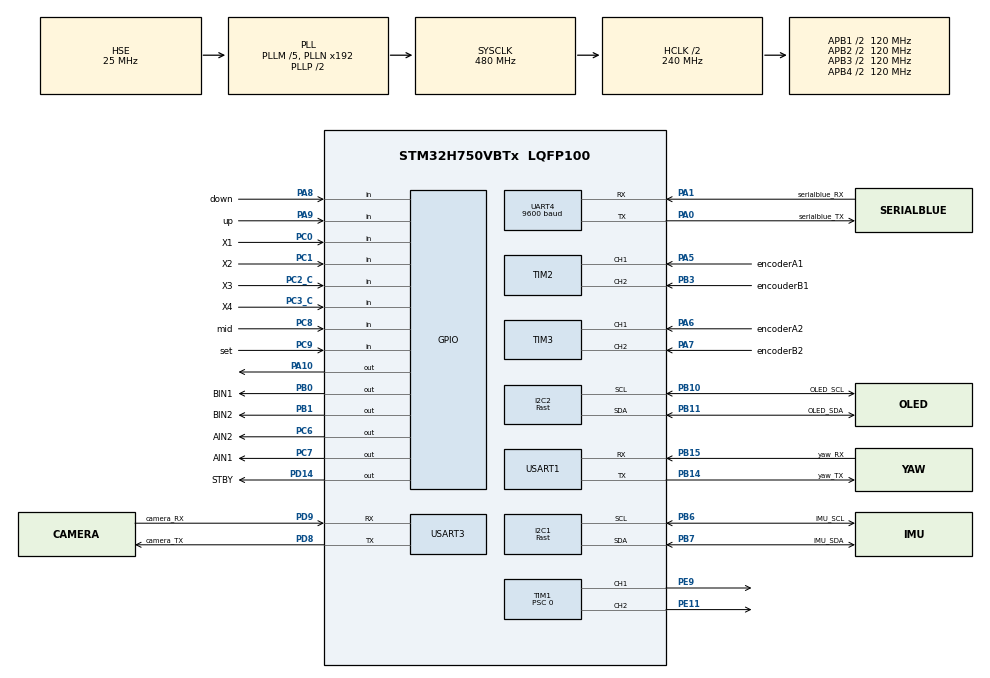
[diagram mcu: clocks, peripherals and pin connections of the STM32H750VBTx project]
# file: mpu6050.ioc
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CORTEX_M7.default_mode_Activation=1
I2C1.I2C_Speed_Mode=I2C_Fast
I2C1.Timing=0x00B03FDB
I2C2.I2C_Speed_Mode=I2C_Fast
I2C2.Timing=0x00B03FDB
Mcu.Family=STM32H7
Mcu.Name=STM32H750VBTx
Mcu.Package=LQFP100
NVIC.PriorityGroup=NVIC_PRIORITYGROUP_4
NVIC.TIM6_DAC_IRQn=true\:15\:0\:true\:false\:true\:true\:true\:true
PA0.GPIO_Label=serialblue_TX
PA0.Mode=Asynchronous
PA0.Signal=UART4_TX
PA1.GPIO_Label=serialblue_RX
PA1.Mode=Asynchronous
PA1.Signal=UART4_RX
PA10.GPIO_PuPd=GPIO_PULLDOWN
PA10.Signal=GPIO_Output
PA13\ (JTMS/SWDIO).Mode=Serial_Wire
PA13\ (JTMS/SWDIO).Signal=DEBUG_JTMS-SWDIO
PA14\ (JTCK/SWCLK).Mode=Serial_Wire
PA14\ (JTCK/SWCLK).Signal=DEBUG_JTCK-SWCLK
PA5.GPIO_Label=encoderA1
PA5.Signal=S_TIM2_CH1_ETR
PA6.GPIO_Label=encoderA2
PA6.Signal=S_TIM3_CH1
PA7.GPIO_Label=encoderB2
PA7.Signal=S_TIM3_CH2
PA8.GPIO_Label=down
PA8.GPIO_PuPd=GPIO_PULLUP
PA8.Signal=GPIO_Input
PA9.GPIO_Label=up
PA9.GPIO_PuPd=GPIO_PULLUP
PA9.Signal=GPIO_Input
PB0.GPIO_Label=BIN1
PB0.Signal=GPIO_Output
PB1.GPIO_Label=BIN2
PB1.Signal=GPIO_Output
PB10.GPIO_Label=OLED_SCL
PB10.Mode=I2C
PB10.Signal=I2C2_SCL
PB11.GPIO_Label=OLED_SDA
PB11.Mode=I2C
PB11.Signal=I2C2_SDA
PB14.GPIO_Label=yaw_TX
PB14.Mode=Asynchronous
PB14.Signal=USART1_TX
PB15.GPIO_Label=yaw_RX
PB15.Mode=Asynchronous
PB15.Signal=USART1_RX
PB3\ (JTDO/TRACESWO).GPIO_Label=encouderB1
PB3\ (JTDO/TRACESWO).Signal=S_TIM2_CH2
PB6.GPIO_Label=IMU_SCL
PB6.Mode=I2C
PB6.Signal=I2C1_SCL
PB7.GPIO_Label=IMU_SDA
PB7.Mode=I2C
PB7.Signal=I2C1_SDA
PC0.GPIO_Label=X1
PC0.GPIO_PuPd=GPIO_PULLUP
PC0.Signal=GPIO_Input
PC1.GPIO_Label=X2
PC1.GPIO_PuPd=GPIO_PULLUP
PC1.Signal=GPIO_Input
PC2_C.GPIO_Label=X3
PC2_C.GPIO_PuPd=GPIO_PULLUP
PC2_C.Signal=GPIO_Input
PC3_C.GPIO_Label=X4
PC3_C.GPIO_PuPd=GPIO_PULLUP
PC3_C.Signal=GPIO_Input
PC6.GPIO_Label=AIN2
PC6.Signal=GPIO_Output
PC7.GPIO_Label=AIN1
PC7.Signal=GPIO_Output
PC8.GPIO_Label=mid
PC8.GPIO_PuPd=GPIO_PULLUP
PC8.Signal=GPIO_Input
PC9.GPIO_Label=set
PC9.GPIO_PuPd=GPIO_PULLUP
PC9.Signal=GPIO_Input
PD14.GPIO_Label=STBY
PD14.Signal=GPIO_Output
PD8.GPIO_Label=camera_TX
PD8.Mode=Asynchronous
PD8.Signal=USART3_TX
PD9.GPIO_Label=camera_RX
PD9.Mode=Asynchronous
PD9.Signal=USART3_RX
PE11.Signal=S_TIM1_CH2
PE9.Signal=S_TIM1_CH1
PH0-OSC_IN\ (PH0).Mode=HSE-External-Oscillator
PH0-OSC_IN\ (PH0).Signal=RCC_OSC_IN
PH1-OSC_OUT\ (PH1).Mode=HSE-External-Oscillator
PH1-OSC_OUT\ (PH1).Signal=RCC_OSC_OUT
ProjectManager.HeapSize=0x200
ProjectManager.StackSize=0x400
ProjectManager.TargetToolchain=CMake
RCC.ADCFreq_Value=1612500000
RCC.APB1Freq_Value=120000000
RCC.APB2Freq_Value=120000000
RCC.APB3Freq_Value=120000000
RCC.APB4Freq_Value=120000000
RCC.CortexFreq_Value=480000000
RCC.D1PPRE=RCC_APB3_DIV2
RCC.D2PPRE1=RCC_APB1_DIV2
RCC.D2PPRE2=RCC_APB2_DIV2
RCC.D3PPRE=RCC_APB4_DIV2
RCC.DIVM1=5
RCC.DIVM2=1
RCC.DIVN1=192
RCC.HCLKFreq_Value=240000000
RCC.HPRE=RCC_HCLK_DIV2
RCC.HSE_VALUE=25000000
RCC.PLLSourceVirtual=RCC_PLLSOURCE_HSE
RCC.SYSCLKFreq_VALUE=480000000
RCC.SYSCLKSource=RCC_SYSCLKSOURCE_PLLCLK
RCC.USBFreq_Value=480000000
SH.S_TIM1_CH1.0=TIM1_CH1,PWM Generation1 CH1
SH.S_TIM1_CH2.0=TIM1_CH2,PWM Generation2 CH2
SH.S_TIM2_CH1_ETR.0=TIM2_CH1,Encoder_Interface
SH.S_TIM2_CH2.0=TIM2_CH2,Encoder_Interface
SH.S_TIM3_CH1.0=TIM3_CH1,Encoder_Interface
SH.S_TIM3_CH2.0=TIM3_CH2,Encoder_Interface
TIM1.AutoReloadPreload=TIM_AUTORELOAD_PRELOAD_ENABLE
TIM1.AutomaticOutput=TIM_AUTOMATICOUTPUT_ENABLE
TIM1.Channel-PWM\ Generation1\ CH1=TIM_CHANNEL_1
TIM1.Channel-PWM\ Generation2\ CH2=TIM_CHANNEL_2
TIM1.OCFastMode_PWM-PWM\ Generation1\ CH1=TIM_OCFAST_ENABLE
TIM1.OCFastMode_PWM-PWM\ Generation2\ CH2=TIM_OCFAST_ENABLE
TIM1.Period=23999
TIM1.Prescaler=0
TIM2.EncoderMode=TIM_ENCODERMODE_TI12
TIM2.IC1Filter=10
TIM2.IC2Filter=10
TIM3.EncoderMode=TIM_ENCODERMODE_TI12
TIM3.IC1Filter=10
TIM3.IC2Filter=10
TIM6.Period=199
TIM6.Prescaler=23999
UART4.BaudRate=9600
USART1.FIFOMode=FIFOMODE_ENABLE
USART1.VirtualMode-Asynchronous=VM_ASYNC
USART3.VirtualMode-Asynchronous=VM_ASYNC
VP_MEMORYMAP_VS_MEMORYMAP.Mode=CurAppReg
VP_TIM6_VS_ClockSourceINT.Mode=Enable_Timer
board=custom

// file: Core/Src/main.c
/* USER CODE BEGIN Header */
/**
  ******************************************************************************
  * @file           : main.c
  * @brief          : Main program body
  ******************************************************************************
  * @attention
  *
  * Copyright (c) 2026 STMicroelectronics.
  * All rights reserved.
  *
  * This software is licensed under terms that can be found in the LICENSE file
  * in the root directory of this software component.
  * If no LICENSE file comes with this software, it is provided AS-IS.
  *
  ******************************************************************************
  */
/* USER CODE END Header */
#include "main.h"
#include "i2c.h"
#include "tim.h"
#include "usart.h"
#include "gpio.h"

/* USER CODE BEGIN Includes */
#include <stdio.h>
#include <math.h>
#include "ICM42688.h"
#include "serialcmd.h"
#include "camera.h"
#include "tracking.h"
#include "chassis.h"
#include "encoder.h"
#include "balance.h"
#include "oled.h"
#include "speed_ctrl.h"

/* USER CODE END Includes */

/* USER CODE BEGIN PV */
enum {
    STATE_IDLE = 0,
    STATE_RUNNING,
    STATE_BRAKING,
    STATE_DONE,
} sys_state = STATE_IDLE;

static uint32_t state_start_ms;
static uint32_t last_key_ms;
static uint32_t last_lf_ms;
static uint32_t last_dbg_ms;
static uint8_t  uart4_rx_byte;
static uint8_t  usart3_rx_byte;
volatile uint8_t bal_20ms_flag;

/* USER CODE END PV */

void SystemClock_Config(void);
static void MPU_Config(void);

/* USER CODE BEGIN 0 */
int _write(int fd,char *ptr,int len)
{
  HAL_UART_Transmit(&huart4,(uint8_t *)ptr,len,HAL_MAX_DELAY);
  return len;
}

void calculate(float *gx_offset, float *gy_offset, float *gz_offset)
{
 float sum[3] = {0};
  ICM42688_Data rawdata;

  for (int i = 0; i < 1000; i++)
  {
      ICM42688_ReadAct(&rawdata);
      if (i < 50) continue;
      sum[0] += rawdata.gyro_x;
      sum[1] += rawdata.gyro_y;
      sum[2] += rawdata.gyro_z;
      HAL_Delay(5);
  }
  *gx_offset = sum[0] / 950.0f;
  *gy_offset = sum[1] / 950.0f;
  *gz_offset = sum[2] / 950.0f;
  printf("Gyro offset: %.4f, %.4f, %.4f dps\r\n",
         *gx_offset, *gy_offset, *gz_offset);
}

/* 题4 B点距离 A→B (mm)，根据实际赛道标定 */
#define B_POINT_DISTANCE_MM  1500.0f

/* 过线检测: 4路传感器全黑 */
static inline uint8_t line_crossed(void)
{
    return (TRACK_X1_READ() == 0 && TRACK_X2_READ() == 0 &&
            TRACK_X3_READ() == 0 && TRACK_X4_READ() == 0);
}
/* USER CODE END 0 */

int main(void)
{

  /* MPU Configuration--------------------------------------------------------*/
MPU_Config();

  /* MCU Configuration--------------------------------------------------------*/

  /* Reset of all peripherals, Initializes the Flash interface and the Systick. */
  HAL_Init();

  /* Configure the system clock */
  SystemClock_Config();

  /* Initialize all configured peripherals */
  MX_GPIO_Init();
  MX_I2C1_Init();
  MX_UART4_Init();
  MX_USART1_UART_Init();
  MX_USART3_UART_Init();
  MX_I2C2_Init();
  MX_TIM1_Init();
  MX_TIM3_Init();
  MX_TIM2_Init();
  MX_TIM6_Init();
  HAL_TIM_Base_Start_IT(&htim6);
  /* USER CODE BEGIN 2 */
  TRACK_IR4_Init();
  Chassis_Init();
  Enc_Init();
  Spd_Init();
  Balance_Init(&huart1);
  OLED_Init();
  OLED_Clear();
  OLED_Printf(0, 0, "Task: %d  [^v]", g_task_mode);
  OLED_ShowString(0, 4, "[SEL] Start");
  printf("OK — Task mode: %d\r\n", g_task_mode);
  SerialCmd_Init();
  HAL_UART_Receive_IT(&huart4, &uart4_rx_byte, 1);
  Camera_Init();
  HAL_UART_Receive_IT(&huart3, &usart3_rx_byte, 1);

  /* IMU 初始化 + 陀螺仪零偏校准 */
  if (ICM42688_Init() == 0) {
      float gx_off, gy_off, gz_off;
      printf("ICM42688 OK\r\n");
      calculate(&gx_off, &gy_off, &gz_off);
  } else {
      printf("ICM42688 FAIL\r\n");
  }

  last_key_ms = HAL_GetTick();
  last_lf_ms  = HAL_GetTick();
  last_dbg_ms = HAL_GetTick();
  /* USER CODE END 2 */

  /* Infinite loop */
  /* USER CODE BEGIN WHILE */
  while (1)
  {
      uint32_t now = HAL_GetTick();

      // 串口指令处理 (每次循环)
      SerialCmd_Update(NULL, NULL);

      // 四键扫描 (20ms + 边沿检测 + 非阻塞消抖)
      if (now - last_key_ms >= 20) {
          static uint8_t  k_prev[4]  = {0};
          static uint8_t  k_edge[4]  = {0};
          static uint32_t k_lockout = 0;

          uint8_t k_raw[4];
          k_raw[0] = (HAL_GPIO_ReadPin(up_GPIO_Port,   up_Pin)   == GPIO_PIN_RESET);
          k_raw[1] = (HAL_GPIO_ReadPin(down_GPIO_Port, down_Pin) == GPIO_PIN_RESET);
          k_raw[2] = (HAL_GPIO_ReadPin(mid_GPIO_Port,  mid_Pin)  == GPIO_PIN_RESET);
          k_raw[3] = (HAL_GPIO_ReadPin(set_GPIO_Port,  set_Pin)  == GPIO_PIN_RESET);
          last_key_ms = now;

          //边沿检测
          for (int i = 0; i < 4; i++) {
              if (k_raw[i] && !k_prev[i]) k_edge[i] = 1;
              k_prev[i] = k_raw[i];
          }

          // (防止连发)
          if (now >= k_lockout) {
              if (sys_state == STATE_IDLE) {
                  if (k_edge[0] && g_task_mode < 6) {  // UP
                      g_task_mode++;
                      OLED_Printf(0, 0, "Task: %d  [^v]", g_task_mode);
                      printf("Task mode: %d\r\n", g_task_mode);
                      k_lockout = now + 300;
                  }
                  if (k_edge[1] && g_task_mode > 2) {  // DOWN
                      g_task_mode--;
                      OLED_Printf(0, 0, "Task: %d  [^v]", g_task_mode);
                      printf("Task mode: %d\r\n", g_task_mode);
                      k_lockout = now + 300;
                  }
                  if (k_edge[2]) {  // SEL
                      g_key_pressed = 1;
                      k_lockout = now + 300;
                  }
              }
              if (k_edge[3] && (sys_state == STATE_RUNNING || sys_state == STATE_BRAKING)) {
                  // STOP 紧急停车
                  sys_state = STATE_DONE;
                  g_lap_time_ms = now - state_start_ms;
                  Chassis_Stop();
                  Balance_Enable(0);
                  printf("→ STOP (manual)\r\n");
                  OLED_Printf(0, 6, "STOPPED");
                  k_lockout = now + 500;
              }
          }

          for (int i = 0; i < 4; i++) k_edge[i] = 0;
      }

      uint8_t need_balance = (g_task_mode >= 3);  // 题3-6 需要控球
      uint8_t need_racing  = (g_task_mode != 3);  // 题2,4,5,6 需要循迹

      /* ---- 摄像头 + 平衡控制 (TIM6 20ms) ---- */
      if (need_balance && bal_20ms_flag) {
          bal_20ms_flag = 0;

          static int16_t ball_pos = 0;
          static int16_t ball_prev = 0;
          static float   ball_vel = 0.0f;
          static uint32_t last_cam_ms = 0;
          static uint8_t  detected = 0;

          CameraData cam = Camera_GetData();
          if (cam.fresh) {
              detected = cam.detected;
              if (cam.detected) {
                  ball_pos = cam.dx;
                  if (last_cam_ms > 0) {
                      float dt_cam = (now - last_cam_ms) * 0.001f;
                      if (dt_cam > 0.0f && dt_cam < 0.5f) {
                          ball_vel = (float)(ball_pos - ball_prev) * 0.1f / dt_cam;
                      }
                  }
                  ball_prev = ball_pos;
                  last_cam_ms = now;
              }
          }

          if (detected) {
              Balance_SetBallVel(ball_vel);
              if (g_task_mode == 3) {
                  Balance_RunTrajectory(ball_pos, 0.02f);
              } else {
                  Balance_SetTarget(g_ball_target);
                  Balance_Update(ball_pos, 0.02f);
              }
          }
      }

      // 循迹控制 (10ms)
      if (need_racing && (sys_state == STATE_RUNNING || sys_state == STATE_BRAKING) &&
          now - last_lf_ms >= 10) {

          if (g_task_mode == 4) {
              float rL, rR;
              Chassis_LineRatio(&rL, &rR);
              Spd_SetRatio(rL, rR);
              Spd_Update();

              if (Spd_Arrived()) {
                  sys_state = STATE_DONE;
                  g_lap_time_ms = now - state_start_ms;
                  float final_dist = Enc_Dist();
                  OLED_Clear();
                  OLED_Printf(0, 0, "Task 4 DONE!");
                  OLED_Printf(0, 2, "T:%.1fs D:%.0fmm",
                             (double)g_lap_time_ms * 0.001, (double)final_dist);
                  printf("→ DONE! Time:%lums Dist:%.1fmm\r\n",
                         (unsigned long)g_lap_time_ms, (double)final_dist);
              }
          } else {
              Chassis_LineFollow();
              if (sys_state == STATE_BRAKING) {
                  if (Chassis_BrakeUpdate()) {
                      sys_state = STATE_DONE;
                      Balance_Enable(0);
                      uint32_t elapsed = now - state_start_ms;
                      g_lap_time_ms = elapsed;
                      OLED_Clear();
                      OLED_Printf(0, 0, "Task %d DONE!", g_task_mode);
                      OLED_Printf(0, 2, "Time: %.1fs", (double)elapsed * 0.001);
                      printf("→ DONE! Time: %lu ms\r\n", (unsigned long)elapsed);
                  }
              }
          }
          last_lf_ms = now;
      }

      //状态机跳转
      switch (sys_state) {

      case STATE_IDLE:
          Chassis_Stop();
          if (g_key_pressed) {
              g_key_pressed = 0;
              sys_state = STATE_RUNNING;
              state_start_ms = now;
              g_lap_time_ms = 0;

              if (need_balance) {
                  Balance_Enable(1);
                  Balance_SetTarget(g_ball_target);
              }
              if (g_task_mode == 4) {
                  Spd_Reset();
                  Spd_SetDuty(0.39f);
                  Spd_AddDist(50.0f);
                  Spd_SetStop(B_POINT_DISTANCE_MM);
              }
              OLED_Clear();
              OLED_Printf(0, 0, "Task %d RUNNING", g_task_mode);
              printf("→ RUN (mode %d)\r\n", g_task_mode);
          }
          break;

      case STATE_RUNNING:
          {
              uint32_t elapsed = now - state_start_ms;

              // 过线检测
              uint8_t crossed = (elapsed > 3000) ? line_crossed() : 0;

              uint8_t stop_flag = 0;

              //右两路(X3+X4)同时见黑
              if (g_task_mode == 2 && elapsed > 7000 &&
                  TRACK_X3_READ() == 0 && TRACK_X4_READ() == 0) {
                  Chassis_BrakeHard();
                  HAL_Delay(200);   // 保持硬刹
                  Chassis_Stop();
                  sys_state = STATE_DONE;
                  Balance_Enable(0);
                  g_lap_time_ms = elapsed;
                  OLED_Clear();
                  OLED_Printf(0, 0, "Task 2 DONE!");
                  OLED_Printf(0, 2, "Time: %.1fs", (double)elapsed * 0.001);
                  printf("→ DONE! Time: %lu ms\r\n", (unsigned long)elapsed);
                  break;
              } else if (g_task_mode == 3) {
                  /* 题3: 轨迹完成后保持住 */
                  // 轨迹完成由 Balance_RunTrajectory 内部处理
              } else if ((g_task_mode == 5 || g_task_mode == 6) && crossed) {
                  /* 题5/6: 完整一圈后过A线停止 */
                  stop_flag = 1;
              }

              if (stop_flag) {
                  sys_state = STATE_BRAKING;
                  Chassis_SoftBrake();
                  OLED_Printf(0, 6, "Braking...");
                  printf("→ BRAKING\r\n");
              }
          }
          break;

      case STATE_BRAKING:
          /* 刹车由循迹控制区的 Chassis_BrakeUpdate 驱动，完成后自动切到 DONE */
          break;

      case STATE_DONE:
          /* 停车保持 */
          Chassis_Stop();
          /* 题3/4/6 保持球在目标位置 */
          break;
      }

      //调试打印 + OLED 刷新 (200ms)
      if (now - last_dbg_ms >= 200) {
          last_dbg_ms = now;
          CameraData cam = Camera_PeekData();
          uint32_t disp_t;
          if (sys_state == STATE_RUNNING)
              disp_t = now - state_start_ms;
          else if (sys_state == STATE_DONE)
              disp_t = g_lap_time_ms;
          else
              disp_t = 0;
          // OLED 显示
          OLED_Printf(0, 2, "Mode:%d", g_task_mode);
          const char *state_str[] = {"IDLE","RUN ","BRAK","DONE"};
          OLED_Printf(48, 2, "%s", state_str[sys_state]);
          OLED_Printf(0, 4, "T:%.1fs", (double)disp_t * 0.001);
          if (g_task_mode == 4 && sys_state == STATE_RUNNING) {
              OLED_Printf(0, 6, "R:%.0fmm", Spd_Remain());
          } else {
              OLED_Printf(0, 6, "%s X:%d", cam.detected ? "Y" : "N", cam.dx);
          }
      }
    /* USER CODE END WHILE */

  }
}

void SystemClock_Config(void)
{
  RCC_OscInitTypeDef RCC_OscInitStruct = {0};
  RCC_ClkInitTypeDef RCC_ClkInitStruct = {0};

  /** Supply configuration update enable
  */
  HAL_PWREx_ConfigSupply(PWR_LDO_SUPPLY);

  /** Configure the main internal regulator output voltage
  */
  __HAL_PWR_VOLTAGESCALING_CONFIG(PWR_REGULATOR_VOLTAGE_SCALE0);

  while(!__HAL_PWR_GET_FLAG(PWR_FLAG_VOSRDY)) {}

  /** Initializes the RCC Oscillators according to the specified parameters
  * in the RCC_OscInitTypeDef structure.
  */
  RCC_OscInitStruct.OscillatorType = RCC_OSCILLATORTYPE_HSE;
  RCC_OscInitStruct.HSEState = RCC_HSE_ON;
  RCC_OscInitStruct.PLL.PLLState = RCC_PLL_ON;
  RCC_OscInitStruct.PLL.PLLSource = RCC_PLLSOURCE_HSE;
  RCC_OscInitStruct.PLL.PLLM = 5;
  RCC_OscInitStruct.PLL.PLLN = 192;
  RCC_OscInitStruct.PLL.PLLP = 2;
  RCC_OscInitStruct.PLL.PLLQ = 2;
  RCC_OscInitStruct.PLL.PLLR = 2;
  RCC_OscInitStruct.PLL.PLLRGE = RCC_PLL1VCIRANGE_2;
  RCC_OscInitStruct.PLL.PLLVCOSEL = RCC_PLL1VCOWIDE;
  RCC_OscInitStruct.PLL.PLLFRACN = 0;
  if (HAL_RCC_OscConfig(&RCC_OscInitStruct) != HAL_OK)
  {
    Error_Handler();
  }

  /** Initializes the CPU, AHB and APB buses clocks
  */
  RCC_ClkInitStruct.ClockType = RCC_CLOCKTYPE_HCLK|RCC_CLOCKTYPE_SYSCLK
                              |RCC_CLOCKTYPE_PCLK1|RCC_CLOCKTYPE_PCLK2
                              |RCC_CLOCKTYPE_D3PCLK1|RCC_CLOCKTYPE_D1PCLK1;
  RCC_ClkInitStruct.SYSCLKSource = RCC_SYSCLKSOURCE_PLLCLK;
  RCC_ClkInitStruct.SYSCLKDivider = RCC_SYSCLK_DIV1;
  RCC_ClkInitStruct.AHBCLKDivider = RCC_HCLK_DIV2;
  RCC_ClkInitStruct.APB3CLKDivider = RCC_APB3_DIV2;
  RCC_ClkInitStruct.APB1CLKDivider = RCC_APB1_DIV2;
  RCC_ClkInitStruct.APB2CLKDivider = RCC_APB2_DIV2;
  RCC_ClkInitStruct.APB4CLKDivider = RCC_APB4_DIV2;

  if (HAL_RCC_ClockConfig(&RCC_ClkInitStruct, FLASH_LATENCY_4) != HAL_OK)
  {
    Error_Handler();
  }
}

/* USER CODE BEGIN 4 */

void HAL_UART_RxCpltCallback(UART_HandleTypeDef *huart)
{
    if (huart == &huart4) {
        SerialCmd_RxByte(uart4_rx_byte);
        HAL_UART_Receive_IT(&huart4, &uart4_rx_byte, 1);
    } else if (huart == &huart3) {
        Camera_RxByte(usart3_rx_byte);
        HAL_UART_Receive_IT(&huart3, &usart3_rx_byte, 1);
    }
}

void HAL_UART_ErrorCallback(UART_HandleTypeDef *huart)
{
    if (huart == &huart3) {
        uint32_t err = HAL_UART_GetError(huart);
        if (err & (HAL_UART_ERROR_ORE | HAL_UART_ERROR_NE | HAL_UART_ERROR_FE)) {
            __HAL_UART_CLEAR_FLAG(huart,
                UART_CLEAR_OREF | UART_CLEAR_NEF | UART_CLEAR_FEF);
            HAL_UART_Receive_IT(&huart3, &usart3_rx_byte, 1);
        }
    }
}

/* USER CODE END 4 */

 /* MPU Configuration */

void MPU_Config(void)
{
  MPU_Region_InitTypeDef MPU_InitStruct = {0};

  /* Disables the MPU */
  HAL_MPU_Disable();

  /** Initializes and configures the Region and the memory to be protected
  */
  MPU_InitStruct.Enable = MPU_REGION_ENABLE;
  MPU_InitStruct.Number = MPU_REGION_NUMBER0;
  MPU_InitStruct.BaseAddress = 0x0;
  MPU_InitStruct.Size = MPU_REGION_SIZE_4GB;
  MPU_InitStruct.SubRegionDisable = 0x87;
  MPU_InitStruct.TypeExtField = MPU_TEX_LEVEL0;
  MPU_InitStruct.AccessPermission = MPU_REGION_NO_ACCESS;
  MPU_InitStruct.DisableExec = MPU_INSTRUCTION_ACCESS_DISABLE;
  MPU_InitStruct.IsShareable = MPU_ACCESS_SHAREABLE;
  MPU_InitStruct.IsCacheable = MPU_ACCESS_NOT_CACHEABLE;
  MPU_InitStruct.IsBufferable = MPU_ACCESS_NOT_BUFFERABLE;

  HAL_MPU_ConfigRegion(&MPU_InitStruct);
  /* Enables the MPU */
  HAL_MPU_Enable(MPU_PRIVILEGED_DEFAULT);

}

void Error_Handler(void)
{
  __disable_irq();
  while (1)
  {
  }
}
